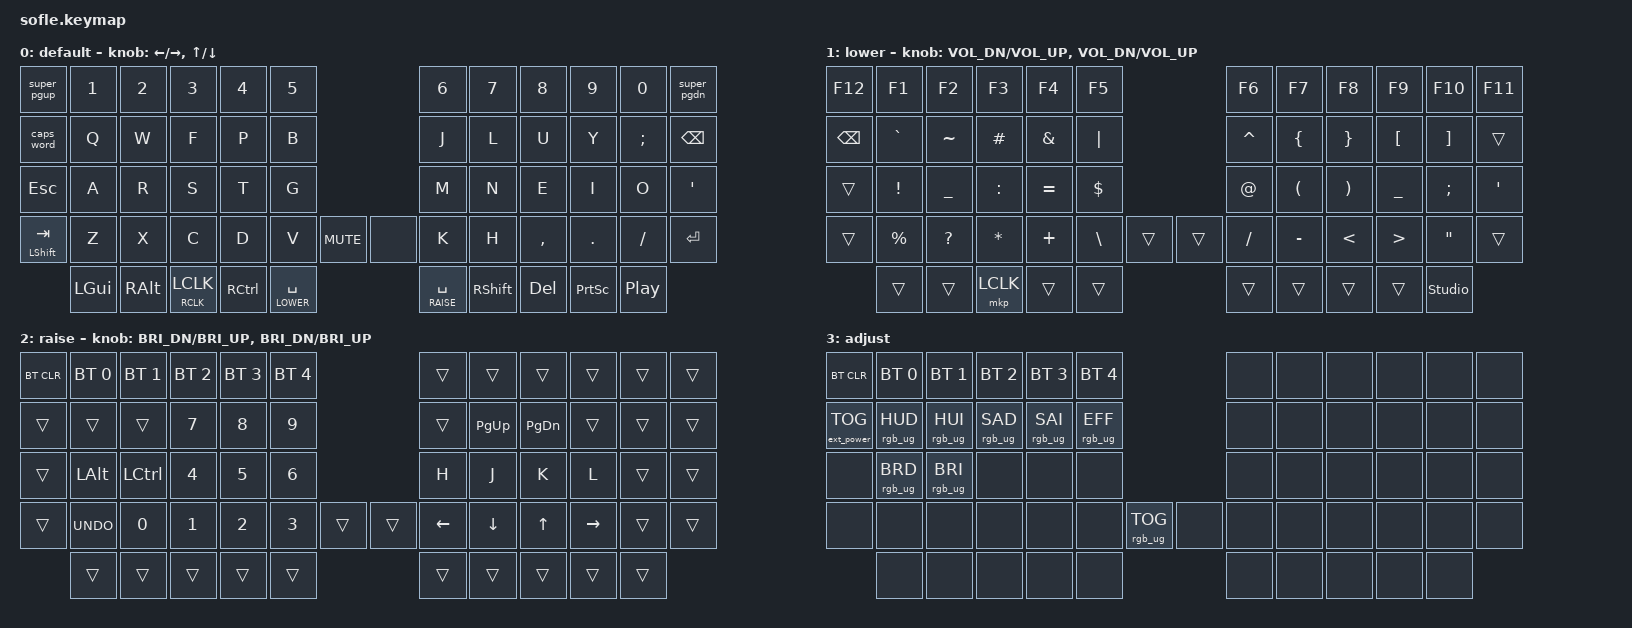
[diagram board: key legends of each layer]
/*
 * Copyright (c) 2020 The ZMK Contributors
 *
 * SPDX-License-Identifier: MIT
 */

#include <behaviors.dtsi>
#include <dt-bindings/zmk/bt.h>
#include <dt-bindings/zmk/ext_power.h>
#include <dt-bindings/zmk/keys.h>
#include <dt-bindings/zmk/rgb.h>
#include <dt-bindings/zmk/pointing.h>

#define BASE 0
#define LOWER 1
#define RAISE 2
#define ADJUST 3

&mt {
  tapping-term-ms = <200>;
  require-prior-idle-ms = <180>;
  quick-tap-ms = <175>; 
  flavor = "balanced";
};
 
&lt {
  tapping-term-ms = <180>;
  flavor = "balanced";
};

/ {

    conditional_layers { // hold lower and raise for adjust layer
        compatible = "zmk,conditional-layers";

        adjust_layer {
            if-layers = <LOWER RAISE>;
            then-layer = <ADJUST>;
        };
    };

macros {
  super_pgdn: super_pgdn { // swap windows on curent gnome config
    compatible = "zmk,behavior-macro";
    #binding-cells = <0>;
    bindings = <&macro_press &kp LGUI>, <&macro_tap &kp PG_DN>, <&macro_release &kp LGUI>;
  };

  super_pgup: super_pgup {
    compatible = "zmk,behavior-macro";
    #binding-cells = <0>;
    bindings = <&macro_press &kp LGUI>, <&macro_tap &kp PG_UP>, <&macro_release &kp LGUI>;
  };
  caps_word_macro: caps_word_macro {  // caps_shift needs this fix otherwise it wouldnt compile (known bug)
    compatible = "zmk,behavior-macro";
    #binding-cells = <0>;
    bindings = <&caps_word>;
  };
};

behaviors {
    click_r: click_r {
        compatible = "zmk,behavior-hold-tap";
        #binding-cells = <2>;
        tapping-term-ms = <200>;
        bindings = <&mkp>, <&mkp>;
    };
    caps_shift: caps_shift {    //"&caps_shift LSHIFT 0" for CAPSWRDshift
      compatible = "zmk,behavior-hold-tap";
      #binding-cells = <2>;
      tapping-term-ms = <200>;
      bindings =  <&kp>, <&caps_word_macro>;
    };
    shift_tab: shift_tab {
      compatible = "zmk,behavior-hold-tap";
      #binding-cells = <2>;
      tapping-term-ms = <200>;
      bindings = <&kp>, <&kp>;
    };
};
    keymap {
        compatible = "zmk,keymap";

        default_layer {
            label = "default";

            // colemak mod-dh
            // ------------------------------------------------------------------------------------------------------------
            //|super+pgup| 1 |  2  |  3   |  4   |  5   |                   |  6   |  7    |  8    |  9   |   0   |super+pgdn|
            //|CAPSWRD | Q   | W   |  F   |  P   |  B   |                   |  J   |  L    |  U    |  Y   |   ;   |  BKSPC   |
            // |  ESC  |  A  |  R  |  S   |  T   |  G   |                   |  M   |  N    |  E    |  I   |   O   |   '      |
            // |TABshift|  Z |  X  |  C   |  D   |  V   |  MUTE   |  |      |  K   |  H    |  ,    |  .   |   /   |  ENTER   |
            //            |SUPER | ALT |CLICKrclick| CTRL|SPACElower|SPACEraise| SHIFT| DEL   | PSCRN    | PLAY/PAUSE  |

            bindings = <
&super_pgup &kp N1  &kp N2    &kp N3    &kp N4     &kp N5                            &kp N6     &kp N7     &kp N8     &kp N9    &kp N0    &super_pgdn
&caps_word  &kp Q   &kp W     &kp F     &kp P      &kp B                             &kp J      &kp L      &kp U      &kp Y     &kp SEMI  &kp BSPC
&kp ESC     &kp A   &kp R     &kp S     &kp T      &kp G                             &kp M      &kp N      &kp E      &kp I     &kp O     &kp SQT
&shift_tab LSHIFT TAB &kp Z &kp X &kp C &kp D      &kp V     &kp C_MUTE      &none   &kp K      &kp H      &kp COMMA  &kp DOT   &kp FSLH  &kp RET
              &kp LGUI &kp RALT &click_r RCLK LCLK &kp RCTRL &lt LOWER SPACE &lt RAISE SPACE &kp RSHIFT &kp DEL  &kp PSCRN   &kp C_PP
            >;

            sensor-bindings = <&inc_dec_kp LEFT RIGHT &inc_dec_kp UP DOWN>;
        };

        lower_layer {
            label = "lower";

            // ------------------------------------------------------------------------------------------------------------
            // |  F12  |  F1 |  F2 |  F3  |  F4  |  F5  |                   |  F6  |  F7   |  F8   |  F9  |  F10  |  F11  |
            // | BKSPC |  `  |  ~  |  #   |  &   |  |  |                    |  ^   |  {    |  }    |  [   |   ]   |       |
            // |       |  !  |  _  |  :   |  =   |  $   |                   |  @   |  (    |  )    |  _   |   ;   |  '    |
            // |       |  %  |  ?  |  *   |  +   |  \   |        |  |       |  /   |  -    |  <    |  >   |   "   |       |
            //               |     |      |CLICK |      |        |  |       |      |       |       |  studio  |

            bindings = <
 &kp F12  &kp F1     &kp F2      &kp F3    &kp F4     &kp F5                       &kp F6     &kp F7     &kp F8    &kp F9   &kp F10   &kp F11
 &kp BSPC        &kp GRAVE  &kp TILDE   &kp HASH  &kp AMPS   &kp PIPE                     &kp CARET  &kp LBRC   &kp RBRC  &kp LBKT &kp RBKT  &trans
 &trans          &kp EXCL   &kp UNDER   &kp COLON &kp EQUAL  &kp DLLR                     &kp AT     &kp LPAR   &kp RPAR  &kp UNDER &kp SEMI &kp SQT
 &trans          &kp PRCNT  &kp QMARK   &kp STAR  &kp PLUS   &kp BSLH   &trans    &trans  &kp FSLH   &kp MINUS  &kp LT    &kp GT   &kp DQT   &trans
                            &trans      &trans    &mkp LCLK  &trans     &trans    &trans  &trans     &trans     &trans    &studio_unlock
            >;

            sensor-bindings = <&inc_dec_kp C_VOL_DN C_VOL_UP &inc_dec_kp C_VOL_DN C_VOL_UP>;
        };

        raise_layer {
            label = "raise";

            // ------------------------------------------------------------------------------------------------------------
            // | BTCLR | BT1  | BT2  |  BT3  |  BT4  |  BT5 |                |      |      |       |      |       |       |
            // |       |      |      |  7   |  8   |   9  |                  |      |PG_DN | PG_UP |      |       |       |
            // |       | ALT  | CTRL |  4   |  5   |   6  |                  |  H   |  J   |   K   |  L   |       |       |
            // |       | UNDO |  0   |  1   |  2   |   3  |        |  |      |  <-  |  v   |   ^   |  ->  |       |       |
            //                |      |      |      |      |        |  |      |      |      |       |      |

            bindings = <
&bt BT_CLR  &bt BT_SEL 0  &bt BT_SEL 1  &bt BT_SEL 2  &bt BT_SEL 3  &bt BT_SEL 4                    &trans     &trans    &trans    &trans    &trans   &trans
&trans      &trans       &trans         &kp N7        &kp N8        &kp N9                          &trans     &kp PG_UP &kp PG_DN &trans    &trans   &trans
&trans      &kp LALT      &kp LCTRL     &kp N4        &kp N5        &kp N6                          &kp H      &kp J     &kp K     &kp L     &trans   &trans
&trans      &kp K_UNDO    &kp N0        &kp N1        &kp N2        &kp N3        &trans    &trans  &kp LEFT   &kp DOWN  &kp UP    &kp RIGHT &trans   &trans

                          &trans        &trans        &trans        &trans        &trans    &trans  &trans     &trans    &trans    &trans
            >;

            sensor-bindings = <&inc_dec_kp C_BRI_DN C_BRI_UP &inc_dec_kp C_BRI_DN C_BRI_UP>;
        };

        adjust_layer {
            // ----------------------------------------------------------------------------------------------------------------------------
            // | BTCLR  |  BT1    |  BT2    |   BT3   |   BT4   |   BT5   |                  |      |      |       |      |       |       |
            // | EXTPWR | RGB_HUD | RGB_HUI | RGB_SAD | RGB_SAI | RGB_EFF |                  |      |      |       |      |       |       |
            // |        | RGB_BRD | RGB_BRI |         |         |         |                  |      |      |       |      |       |       |
            // |        |         |         |         |         |         | RGB_TOG | |      |      |      |       |      |       |       |
            //                    |         |         |         |         |         | |      |      |      |       |      |

            label = "adjust";
            bindings = <
&bt BT_CLR         &bt BT_SEL 0     &bt BT_SEL 1     &bt BT_SEL 2     &bt BT_SEL 3     &bt BT_SEL 4                               &none  &none  &none  &none  &none  &none
&ext_power EP_TOG  &rgb_ug RGB_HUD  &rgb_ug RGB_HUI  &rgb_ug RGB_SAD  &rgb_ug RGB_SAI  &rgb_ug RGB_EFF                            &none  &none  &none  &none  &none  &none
&none              &rgb_ug RGB_BRD  &rgb_ug RGB_BRI  &none            &none            &none                                      &none  &none  &none  &none  &none  &none
&none              &none            &none            &none            &none            &none            &rgb_ug RGB_TOG    &none  &none  &none  &none  &none  &none  &none
                                    &none            &none            &none            &none            &none              &none  &none  &none  &none  &none
            >;
        };
    };
};
